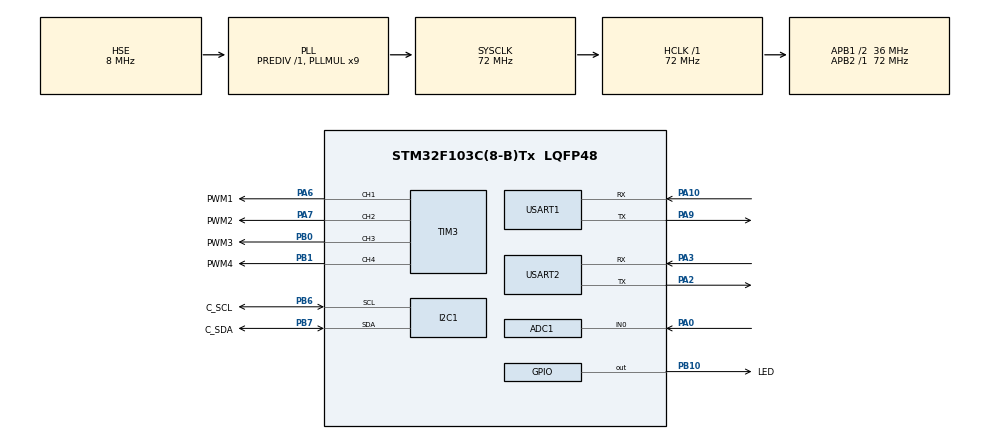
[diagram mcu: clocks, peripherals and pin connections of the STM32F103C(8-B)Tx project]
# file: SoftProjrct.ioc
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ADC1.Channel-3\#ChannelRegularConversion=ADC_CHANNEL_0
ADC1.ContinuousConvMode=ENABLE
ADC1.NbrOfConversionFlag=1
ADC1.Rank-3\#ChannelRegularConversion=1
ADC1.SamplingTime-3\#ChannelRegularConversion=ADC_SAMPLETIME_13CYCLES_5
ADC1.master=1
Dma.ADC1.0.Direction=DMA_PERIPH_TO_MEMORY
Dma.ADC1.0.Instance=DMA1_Channel1
Dma.ADC1.0.MemDataAlignment=DMA_MDATAALIGN_HALFWORD
Dma.ADC1.0.MemInc=DMA_MINC_ENABLE
Dma.ADC1.0.Mode=DMA_CIRCULAR
Dma.ADC1.0.PeriphDataAlignment=DMA_PDATAALIGN_HALFWORD
Dma.ADC1.0.PeriphInc=DMA_PINC_DISABLE
Dma.ADC1.0.Priority=DMA_PRIORITY_LOW
Dma.Request0=ADC1
FREERTOS.Tasks01=LEDTask,0,128,LedTask,Default,NULL,Dynamic,NULL,NULL;SPEEDCALTask,2,128,SpeedCalTask,Default,NULL,Dynamic,NULL,NULL
Mcu.Family=STM32F1
Mcu.Name=STM32F103C(8-B)Tx
Mcu.Package=LQFP48
NVIC.DMA1_Channel1_IRQn=true\:5\:0\:false\:false\:true\:true\:false\:true\:true
NVIC.I2C1_EV_IRQn=true\:5\:0\:false\:false\:true\:true\:true\:true\:true
NVIC.PriorityGroup=NVIC_PRIORITYGROUP_4
NVIC.TIM4_IRQn=true\:15\:0\:false\:false\:true\:false\:false\:true\:true
NVIC.TimeBase=TIM4_IRQn
NVIC.TimeBaseIP=TIM4
NVIC.USART1_IRQn=true\:5\:0\:false\:false\:true\:true\:true\:true\:true
PA0-WKUP.Signal=ADCx_IN0
PA1.Signal=ADCx_IN1
PA10.Mode=Asynchronous
PA10.Signal=USART1_RX
PA13.Mode=Serial_Wire
PA13.Signal=SYS_JTMS-SWDIO
PA14.Mode=Serial_Wire
PA14.Signal=SYS_JTCK-SWCLK
PA2.Mode=Asynchronous
PA2.Signal=USART2_TX
PA3.Mode=Asynchronous
PA3.Signal=USART2_RX
PA6.GPIO_Label=PWM1
PA6.GPIO_Speed=GPIO_SPEED_FREQ_HIGH
PA6.Signal=S_TIM3_CH1
PA7.GPIO_Label=PWM2
PA7.GPIO_Speed=GPIO_SPEED_FREQ_HIGH
PA7.Signal=S_TIM3_CH2
PA9.Mode=Asynchronous
PA9.Signal=USART1_TX
PB0.GPIO_Label=PWM3
PB0.GPIO_Speed=GPIO_SPEED_FREQ_HIGH
PB0.Signal=S_TIM3_CH3
PB1.GPIO_Label=PWM4
PB1.GPIO_Speed=GPIO_SPEED_FREQ_HIGH
PB1.Signal=S_TIM3_CH4
PB10.GPIO_Label=LED
PB10.Signal=GPIO_Output
PB6.GPIO_Label=C_SCL
PB6.Mode=I2C
PB6.Signal=I2C1_SCL
PB7.GPIO_Label=C_SDA
PB7.Mode=I2C
PB7.Signal=I2C1_SDA
PD0-OSC_IN.Mode=HSE-External-Oscillator
PD0-OSC_IN.Signal=RCC_OSC_IN
PD1-OSC_OUT.Mode=HSE-External-Oscillator
PD1-OSC_OUT.Signal=RCC_OSC_OUT
ProjectManager.HeapSize=0x200
ProjectManager.StackSize=0x400
ProjectManager.TargetToolchain=Makefile
RCC.ADCPresc=RCC_ADCPCLK2_DIV8
RCC.AHBFreq_Value=72000000
RCC.APB1CLKDivider=RCC_HCLK_DIV2
RCC.APB1Freq_Value=36000000
RCC.APB1TimFreq_Value=72000000
RCC.APB2Freq_Value=72000000
RCC.APB2TimFreq_Value=72000000
RCC.HCLKFreq_Value=72000000
RCC.PLLMUL=RCC_PLL_MUL9
RCC.PLLSourceVirtual=RCC_PLLSOURCE_HSE
RCC.SYSCLKFreq_VALUE=72000000
RCC.SYSCLKSource=RCC_SYSCLKSOURCE_PLLCLK
RCC.USBFreq_Value=72000000
SH.ADCx_IN0.0=ADC1_IN0,IN0
SH.ADCx_IN1.0=ADC1_IN1
SH.S_TIM3_CH1.0=TIM3_CH1,PWM Generation1 CH1
SH.S_TIM3_CH2.0=TIM3_CH2,PWM Generation2 CH2
SH.S_TIM3_CH3.0=TIM3_CH3,PWM Generation3 CH3
SH.S_TIM3_CH4.0=TIM3_CH4,PWM Generation4 CH4
TIM3.Channel-PWM\ Generation1\ CH1=TIM_CHANNEL_1
TIM3.Channel-PWM\ Generation2\ CH2=TIM_CHANNEL_2
TIM3.Channel-PWM\ Generation3\ CH3=TIM_CHANNEL_3
TIM3.Channel-PWM\ Generation4\ CH4=TIM_CHANNEL_4
TIM3.ClockDivision=TIM_CLOCKDIVISION_DIV2
USART1.VirtualMode=VM_ASYNC
USART2.VirtualMode=VM_ASYNC
VP_FREERTOS_VS_CMSIS_V1.Mode=CMSIS_V1
VP_SYS_VS_tim4.Mode=TIM4
board=custom

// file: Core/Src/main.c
/* USER CODE BEGIN Header */
/**
 ******************************************************************************
 * @file           : main.c
 * @brief          : Main program body
 ******************************************************************************
 * @attention
 *
 * Copyright (c) 2025 STMicroelectronics.
 * All rights reserved.
 *
 * This software is licensed under terms that can be found in the LICENSE file
 * in the root directory of this software component.
 * If no LICENSE file comes with this software, it is provided AS-IS.
 *
 ******************************************************************************
 */
/* USER CODE END Header */
#include "main.h"
#include "cmsis_os.h"
#include "adc.h"
#include "dma.h"
#include "i2c.h"
#include "tim.h"
#include "usart.h"
#include "gpio.h"

/* USER CODE BEGIN Includes */
#include "calculate.h"
#include "oled.h"
#include "myiic.h"
#include "ci.h"
#include "temperature.h"
/* USER CODE END Includes */

void SystemClock_Config(void);
void MX_FREERTOS_Init(void);

int main(void)
{

  /* MCU Configuration--------------------------------------------------------*/

  /* Reset of all peripherals, Initializes the Flash interface and the Systick. */
  HAL_Init();

  /* Configure the system clock */
  SystemClock_Config();

  /* Initialize all configured peripherals */
  MX_GPIO_Init();
  MX_DMA_Init();
  MX_ADC1_Init();
  MX_TIM3_Init();
  MX_USART1_UART_Init();
  MX_USART2_UART_Init();
  MX_I2C1_Init();
  /* USER CODE BEGIN 2 */
  AngleDataInit();
  /* USER CODE END 2 */

  /* Call init function for freertos objects (in cmsis_os2.c) */
  MX_FREERTOS_Init();

  /* Start scheduler */
  osKernelStart();

  /* We should never get here as control is now taken by the scheduler */

  /* Infinite loop */
  while (1)
  {

  }
}

void SystemClock_Config(void)
{
  RCC_OscInitTypeDef RCC_OscInitStruct = {0};
  RCC_ClkInitTypeDef RCC_ClkInitStruct = {0};
  RCC_PeriphCLKInitTypeDef PeriphClkInit = {0};

  /** Initializes the RCC Oscillators according to the specified parameters
   * in the RCC_OscInitTypeDef structure.
   */
  RCC_OscInitStruct.OscillatorType = RCC_OSCILLATORTYPE_HSE;
  RCC_OscInitStruct.HSEState = RCC_HSE_ON;
  RCC_OscInitStruct.HSEPredivValue = RCC_HSE_PREDIV_DIV1;
  RCC_OscInitStruct.HSIState = RCC_HSI_ON;
  RCC_OscInitStruct.PLL.PLLState = RCC_PLL_ON;
  RCC_OscInitStruct.PLL.PLLSource = RCC_PLLSOURCE_HSE;
  RCC_OscInitStruct.PLL.PLLMUL = RCC_PLL_MUL9;
  if (HAL_RCC_OscConfig(&RCC_OscInitStruct) != HAL_OK)
  {
    Error_Handler();
  }

  /** Initializes the CPU, AHB and APB buses clocks
   */
  RCC_ClkInitStruct.ClockType = RCC_CLOCKTYPE_HCLK | RCC_CLOCKTYPE_SYSCLK | RCC_CLOCKTYPE_PCLK1 | RCC_CLOCKTYPE_PCLK2;
  RCC_ClkInitStruct.SYSCLKSource = RCC_SYSCLKSOURCE_PLLCLK;
  RCC_ClkInitStruct.AHBCLKDivider = RCC_SYSCLK_DIV1;
  RCC_ClkInitStruct.APB1CLKDivider = RCC_HCLK_DIV2;
  RCC_ClkInitStruct.APB2CLKDivider = RCC_HCLK_DIV1;

  if (HAL_RCC_ClockConfig(&RCC_ClkInitStruct, FLASH_LATENCY_2) != HAL_OK)
  {
    Error_Handler();
  }
  PeriphClkInit.PeriphClockSelection = RCC_PERIPHCLK_ADC;
  PeriphClkInit.AdcClockSelection = RCC_ADCPCLK2_DIV8;
  if (HAL_RCCEx_PeriphCLKConfig(&PeriphClkInit) != HAL_OK)
  {
    Error_Handler();
  }
}

void HAL_TIM_PeriodElapsedCallback(TIM_HandleTypeDef *htim)
{
  if (htim->Instance == TIM4)
  {
    HAL_IncTick();
  }
}

void Error_Handler(void)
{
  __disable_irq();
  while (1)
  {
  }
}

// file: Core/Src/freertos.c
/* USER CODE BEGIN Header */
/**
  ******************************************************************************
  * File Name          : freertos.c
  * Description        : Code for freertos applications
  ******************************************************************************
  * @attention
  *
  * Copyright (c) 2025 STMicroelectronics.
  * All rights reserved.
  *
  * This software is licensed under terms that can be found in the LICENSE file
  * in the root directory of this software component.
  * If no LICENSE file comes with this software, it is provided AS-IS.
  *
  ******************************************************************************
  */
/* USER CODE END Header */

#include "FreeRTOS.h"
#include "task.h"
#include "main.h"
#include "cmsis_os.h"

/* USER CODE BEGIN Includes */
#include "calculate.h"
#include "oled.h"
#include "myiic.h"
#include "ci.h"
#include "temperature.h"

/* USER CODE END Includes */

/* USER CODE BEGIN Variables */
float AngleSpeed=0;
float Angle=0;
float LastAngle=0;
/* USER CODE END Variables */
osThreadId LEDTaskHandle;
osThreadId SPEEDCALTaskHandle;

void LedTask(void const * argument);
void SpeedCalTask(void const * argument);

void MX_FREERTOS_Init(void); /* (MISRA C 2004 rule 8.1) */

/* GetIdleTaskMemory prototype (linked to static allocation support) */
void vApplicationGetIdleTaskMemory( StaticTask_t **ppxIdleTaskTCBBuffer, StackType_t **ppxIdleTaskStackBuffer, uint32_t *pulIdleTaskStackSize );

/* USER CODE BEGIN GET_IDLE_TASK_MEMORY */
static StaticTask_t xIdleTaskTCBBuffer;
static StackType_t xIdleStack[configMINIMAL_STACK_SIZE];

void vApplicationGetIdleTaskMemory( StaticTask_t **ppxIdleTaskTCBBuffer, StackType_t **ppxIdleTaskStackBuffer, uint32_t *pulIdleTaskStackSize )
{
  *ppxIdleTaskTCBBuffer = &xIdleTaskTCBBuffer;
  *ppxIdleTaskStackBuffer = &xIdleStack[0];
  *pulIdleTaskStackSize = configMINIMAL_STACK_SIZE;
  /* place for user code */
}
/* USER CODE END GET_IDLE_TASK_MEMORY */

void MX_FREERTOS_Init(void) {

  /* Create the thread(s) */
  /* definition and creation of LEDTask */
  osThreadDef(LEDTask, LedTask, osPriorityNormal, 0, 128);
  LEDTaskHandle = osThreadCreate(osThread(LEDTask), NULL);

  /* definition and creation of SPEEDCALTask */
  osThreadDef(SPEEDCALTask, SpeedCalTask, osPriorityHigh, 0, 128);
  SPEEDCALTaskHandle = osThreadCreate(osThread(SPEEDCALTask), NULL);

}

void LedTask(void const * argument)
{
  /* USER CODE BEGIN LedTask */
  /* Infinite loop */
  for(;;)
  {
    HAL_GPIO_TogglePin(LED_GPIO_Port, LED_Pin);
    osDelay(500);
  }
  /* USER CODE END LedTask */
}

void SpeedCalTask(void const * argument)
{
  /* USER CODE BEGIN SpeedCalTask */
  /* Infinite loop */
  for(;;)
  {
    AngleDataUpdate(&AngleData);
    osDelay(10);
  }
  /* USER CODE END SpeedCalTask */
}
